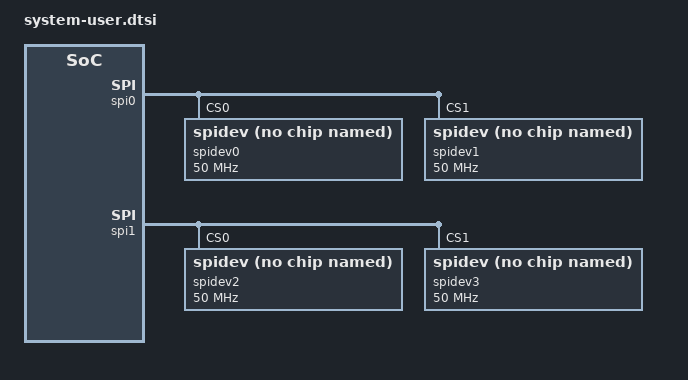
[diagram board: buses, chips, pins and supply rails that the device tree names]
/include/ "system-conf.dtsi"
/include/ "pl.dtsi"

/ { 
    reserved-memory {
        #address-cells = <2>;
		#size-cells = <2>;
        ranges;

        psddr0: ddr4@800000000 {
			reg = <0x8 0x00000000 0x0 0x20000000>;
		}; 

    };

    psddr {
        compatible = "mmio-sram";
        memory-region = <&psddr0>;
        export;
    };
    
	plddr0@4000000000 {
        compatible = "mmio-sram";
        reg = <0x40 0x00000000 0x1 0x00000000>;
        export;
    }; 
    
    plddr1@4100000000 {
        compatible = "mmio-sram";
        reg = <0x41 0x00000000 0x1 0x00000000>;
        export;
    }; 
};

&spi0 {
    is-decoded-cs = <0>;
    num-cs = <2>;
    status = "okay";
    
    spidev0@0x00 {
        compatible = "rohm,dh2228fv";
        spi-max-frequency = <50000000>;
        reg = <0>;
    };

    spidev1@0x01 {
        compatible = "rohm,dh2228fv";
        spi-max-frequency = <50000000>;
        reg = <1>;
    };
};

&spi1 {
    is-decoded-cs = <0>;
    num-cs = <2>;
    status = "okay";

    spidev2@0x00 {
        compatible = "rohm,dh2228fv";
        spi-max-frequency = <50000000>;
        reg = <0>;
    };

    spidev3@0x01 {
        compatible = "rohm,dh2228fv";
        spi-max-frequency = <50000000>;
        reg = <1>;
    };
};
	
